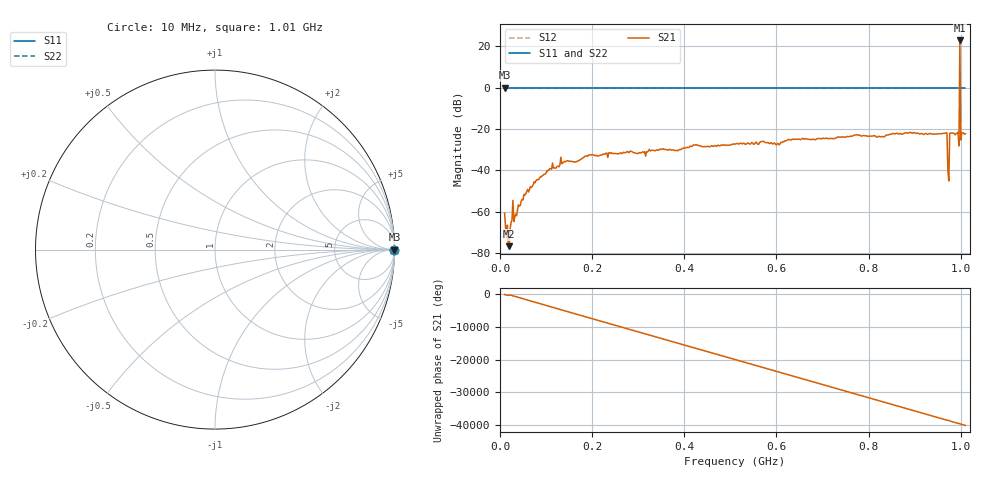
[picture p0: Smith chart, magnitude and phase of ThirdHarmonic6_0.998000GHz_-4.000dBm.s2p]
! 8/16/2025 8:00:29 AM
! C:\ANRITSUVNA\TEMP\TEMP.S2P
! CHANNEL.1
! TR.MEASUREMENT
! RAW.DATA
! RF.CORRECTION.OFF
! AVERAGING.OFF
! IF.BANDWIDTH: 5KHZ
! SWEEPTYPE:  FREQ.SWEEP(Linear)
! Reference Plane Port Info
! PORT:  PORT1  PORT2
! DISTANCE:  0  m  0  m
! TIME:  0  s  0  s
! PHASE.OFFSET:  0  deg.  0  deg.
! LOSS:  0  dB  0  dB
! REF.LOSS:  0  dB  0  dB
! REF.FREQ:  0  Hz  0  Hz
! Power Info
! POWER:  -20  dBm  -20  dBm
! EFF.POWER:  -20  dBm  -20  dBm
! SOURCE.ATTEN:  0  dB  0  dB
! TEST.ATTEN:  0  dB  0  dB
# GHZ S RI R 50.0
! FREQ.GHZ  S11RE  S11IM  S21RE  S21IM  S12RE  S12IM  S22RE  S22IM
!; PortSelection: Port_12
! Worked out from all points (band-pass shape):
!   501 points, 10 MHz to 1.01 GHz, reference 50 ohm
!   highest |S21| = 22.68 dB at 998 MHz (marker M1); lowest = -76.5 dB at 20 MHz (marker M2)
!   |S21| within 3 dB of the highest: 997.8821 MHz to 998.1251 MHz (243 kHz wide, 0.0243 % of centre)
!   lowest |S11| = 0.0 dB at 10 MHz (marker M3)
!   |S11| at or under -10 dB: nowhere
!   |S22| runs from 0.0 to 0.0 dB; largest |S21 - S12| = 13
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0.01  1 0  -0.00093 -0.000102  1 0  1 0
0.016  1 0  0.000382 -0.000289  1 0  1 0
0.02  1 0  0.000124 8.34e-05  1 0  1 0
0.028  1 0  -0.00116 0.0015  1 0  1 0
0.078  1 0  0.00127 -0.0055  1 0  1 0
0.136  1 0  -0.000284 0.0152  1 0  1 0
0.178  1 0  -0.0188 -0.0047  1 0  1 0
0.344  1 0  0.0302 -0.00506  1 0  1 0
0.51  1 0  -0.0419 0.0108  1 0  1 0
0.678  1 0  -0.016 -0.0537  1 0  1 0
0.844  1 0  0.0381 0.0626  1 0  1 0
0.966  1 0  -0.0789 -0.00535  1 0  1 0
0.97  1 0  0.0741 0.0306  1 0  1 0
0.972  1 0  0.00394 -0.00918  1 0  1 0
0.976  1 0  -0.0591 0.0517  1 0  1 0
0.98  1 0  0.0741 -0.0296  1 0  1 0
0.992  1 0  -0.063 -0.0484  1 0  1 0
0.994  1 0  -0.063 0.0549  1 0  1 0
0.998  1 0  8.892 10.31  1 0  1 0
1.002  1 0  -0.0788 0.0111  1 0  1 0
1.004  1 0  -0.000686 0.0809  1 0  1 0
1.01  1 0  -0.0684 -0.0355  1 0  1 0
